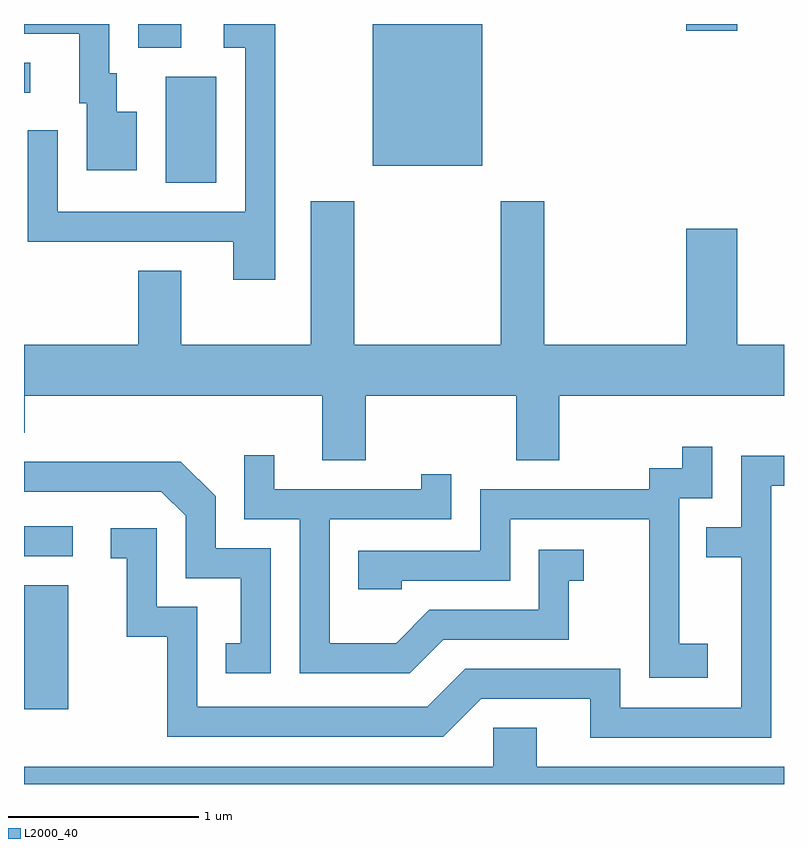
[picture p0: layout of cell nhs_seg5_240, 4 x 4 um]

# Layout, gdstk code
import gdstk
lib = gdstk.Library(unit=1e-6, precision=1e-09)
def R(c, l, rs):  # rectangles x0, y0, x1, y1
    for r in rs: c.add(gdstk.rectangle(r[:2], r[2:], *l))
def P(c, l, *ps):  # polygons
    for p in ps: c.add(gdstk.Polygon(p, *l))
L2000_40 = (2000, 40)

nhs_seg5_240 = lib.new_cell('nhs_seg5_240')
R(nhs_seg5_240, L2000_40, [(191.611,1468.466,191.844,1469.119), (191.611,1469.271,191.868,1469.429), (192.356,1471.236,192.624,1471.794), (193.446,1471.326,194.024,1472.072), (191.611,1471.711,191.643,1471.869), (192.211,1471.946,192.439,1472.072), (195.096,1472.036,195.364,1472.072)])
P(nhs_seg5_240, L2000_40, [(192.204,1471.609),(192.099,1471.609),(192.099,1471.814),(192.059,1471.814),(192.059,1472.072),(191.611,1472.072),(191.611,1472.021),(191.901,1472.021),(191.901,1471.656),(191.941,1471.656),(191.941,1471.301),(192.204,1471.301)],
  [(192.934,1472.072),(192.663,1472.072),(192.663,1471.946),(192.776,1471.946),(192.776,1471.084),(191.789,1471.084),(191.789,1471.513),(191.631,1471.513),(191.631,1470.926),(192.711,1470.926),(192.711,1470.726),(192.934,1470.726)],
  [(193.409,1470.116),(194.201,1470.116),(194.201,1469.776),(194.429,1469.776),(194.429,1470.116),(195.611,1470.116),(195.611,1470.384),(195.364,1470.384),(195.364,1470.994),(195.096,1470.994),(195.096,1470.384),(194.349,1470.384),(194.349,1471.139),(194.121,1471.139),(194.121,1470.384),(193.349,1470.384),(193.349,1471.139),(193.121,1471.139),(193.121,1470.384),(192.439,1470.384),(192.439,1470.774),(192.211,1470.774),(192.211,1470.384),(191.611,1470.384),(191.611,1469.921),(191.614,1469.921),(191.614,1470.116),(193.181,1470.116),(193.181,1469.776),(193.409,1469.776)],
  [(195.209,1468.809),(195.059,1468.809),(195.059,1469.576),(195.234,1469.576),(195.234,1469.848),(195.076,1469.848),(195.076,1469.734),(194.901,1469.734),(194.901,1469.624),(194.011,1469.624),(194.011,1469.299),(193.371,1469.299),(193.371,1469.096),(193.599,1469.096),(193.599,1469.141),(194.169,1469.141),(194.169,1469.466),(194.901,1469.466),(194.901,1468.631),(195.209,1468.631)],
  [(193.817,1468.831),(194.479,1468.831),(194.479,1469.141),(194.558,1469.141),(194.558,1469.304),(194.321,1469.304),(194.321,1468.989),(193.744,1468.989),(193.569,1468.814),(193.219,1468.814),(193.219,1469.466),(193.859,1469.466),(193.859,1469.703),(193.701,1469.703),(193.701,1469.624),(192.929,1469.624),(192.929,1469.803),(192.771,1469.803),(192.771,1469.466),(193.061,1469.466),(193.061,1468.656),(193.642,1468.656)],
  [(195.544,1469.641),(195.611,1469.641),(195.611,1469.799),(195.386,1469.799),(195.386,1469.424),(195.203,1469.424),(195.203,1469.266),(195.386,1469.266),(195.386,1468.474),(194.749,1468.474),(194.749,1468.679),(193.934,1468.679),(193.734,1468.479),(192.524,1468.479),(192.524,1469.004),(192.309,1469.004),(192.309,1469.419),(192.068,1469.419),(192.068,1469.261),(192.151,1469.261),(192.151,1468.846),(192.366,1468.846),(192.366,1468.321),(193.817,1468.321),(194.017,1468.521),(194.591,1468.521),(194.591,1468.316),(195.544,1468.316)],
  [(192.909,1469.314),(192.619,1469.314),(192.619,1469.587),(192.437,1469.769),(191.611,1469.769),(191.611,1469.611),(192.334,1469.611),(192.461,1469.484),(192.461,1469.156),(192.751,1469.156),(192.751,1468.814),(192.673,1468.814),(192.673,1468.656),(192.909,1468.656)],
  [(195.611,1468.164),(194.309,1468.164),(194.309,1468.369),(194.081,1468.369),(194.081,1468.164),(191.611,1468.164),(191.611,1468.072),(195.611,1468.072)])

lib.write_gds('nhs_seg5_240.gds')
